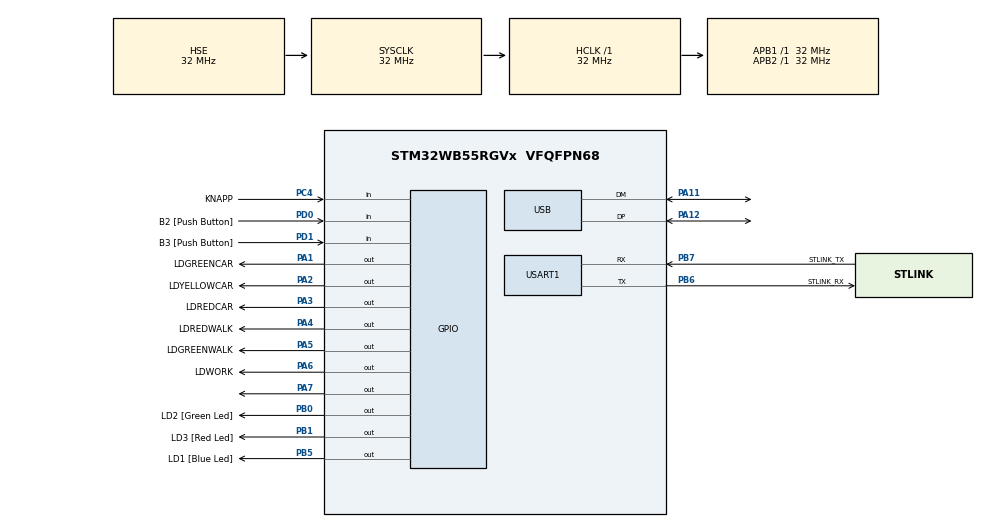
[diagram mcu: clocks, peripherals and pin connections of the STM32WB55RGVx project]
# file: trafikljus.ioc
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Mcu.Family=STM32WB
PA2.GPIO_PuPd=GPIO_PULLUP
RCC.CortexFreq_Value=32000000
RCC.SMPSCLockSelectionVirtualVirtual=RCC_SMPSCLKSOURCE_HSI
USART1.WordLength=WORDLENGTH_7B
PA14.GPIO_Label=JTCK
PA3.GPIO_PuPd=GPIO_PULLUP
PD0.GPIO_Label=B2 [Push Button]
PA11.Mode=Device
PA6.GPIO_Label=LDWORK
PB0.GPIO_Label=LD2 [Green Led]
PB6.GPIO_Label=STLINK_RX
PA5.PinState=GPIO_PIN_SET
RCC.SYSCLKSource=RCC_SYSCLKSOURCE_HSE
ProjectManager.StackSize=0x400
PA12.Signal=USB_DP
RCC.HCLKFreq_Value=32000000
RCC.APB2TimFreq_Value=32000000
PB6.Signal=USART1_TX
PB6.Mode=Asynchronous
PD0.Signal=GPIO_Input
OSC_OUT.Mode=HSE-External-Oscillator
PA1.GPIO_PuPd=GPIO_PULLUP
OSC_OUT.Signal=RCC_OSC_OUT
RCC.AHBFreq_Value=32000000
RCC.HSE_VALUE=32000000
PA4.GPIO_PuPd=GPIO_PULLUP
PB3.Mode=Trace_Asynchronous_SW
PD1.GPIO_Label=B3 [Push Button]
PA2.PinState=GPIO_PIN_SET
PA6.GPIO_PuPd=GPIO_PULLUP
PC14-OSC32_IN.Mode=LSE-External-Oscillator
PC4.GPIO_Label=KNAPP
PA14.Mode=Trace_Asynchronous_SW
PA5.GPIO_PuPd=GPIO_PULLUP
PB1.GPIO_Label=LD3 [Red Led]
PB7.Signal=USART1_RX
RCC.APB3Freq_Value=16000000
PB7.GPIO_Label=STLINK_TX
Mcu.Package=VFQFPN68
PB1.Signal=GPIO_Output
PA6.Signal=GPIO_Output
PA2.GPIO_Label=LDYELLOWCAR
PA1.PinState=GPIO_PIN_SET
PB5.GPIO_Label=LD1 [Blue Led]
RCC.APB1TimFreq_Value=32000000
RCC.SMPSDivider=1
PA4.GPIO_Label=LDREDWALK
RCC.HSI48_VALUE=48000000
RCC.PLLSAI1N=24
PA3.Signal=GPIO_Output
PB3.GPIO_Label=JTDO
PB7.GPIO_PuPd=GPIO_PULLUP
PC15-OSC32_OUT.Mode=LSE-External-Oscillator
PC13.Signal=SYS_WKUP2
PB6.GPIO_PuPd=GPIO_PULLUP
PC4.Signal=GPIO_Input
PD1.Signal=GPIO_Input
PA6.PinState=GPIO_PIN_SET
PC14-OSC32_IN.Signal=RCC_OSC32_IN
USART1.VirtualMode-Asynchronous=VM_ASYNC
PA13.Signal=SYS_JTMS-SWDIO
PA4.PinState=GPIO_PIN_SET
ProjectManager.TargetToolchain=STM32CubeIDE
OSC_IN.Signal=RCC_OSC_IN
RCC.USBFreq_Value=48000000
PC15-OSC32_OUT.Signal=RCC_OSC32_OUT
PA1.Signal=GPIO_Output
PA5.Signal=GPIO_Output
RCC.SMPSCLockSelectionVirtual=RCC_SMPSCLKSOURCE_HSI
board=NUCLEO-WB55RG
RCC.VCOOutputFreq_Value=128000000
RCC.APB2Freq_Value=32000000
RCC.ADCFreq_Value=48000000
PA1.GPIO_Label=LDGREENCAR
PC13.Mode=SYS_WakeUp1
PA13.Mode=Trace_Asynchronous_SW
Mcu.Name=STM32WB55RGVx
PA2.Signal=GPIO_Output
PA13.GPIO_Label=JTMS
PB3.Signal=SYS_JTDO-SWO
PA4.Signal=GPIO_Output
RCC.SYSCLKFreq_VALUE=32000000
PB5.Signal=GPIO_Output
PA12.Mode=Device
PA5.GPIO_Label=LDGREENWALK
OSC_IN.Mode=HSE-External-Oscillator
PB7.Mode=Asynchronous
PA11.Signal=USB_DM
PA14.Signal=SYS_JTCK-SWCLK
ProjectManager.HeapSize=0x200
RCC.HSI_VALUE=16000000
NVIC.PriorityGroup=NVIC_PRIORITYGROUP_4
RCC.PLLN=32
PA3.PinState=GPIO_PIN_SET
RCC.APB1Freq_Value=32000000
PB0.Signal=GPIO_Output
PA3.GPIO_Label=LDREDCAR
PA7.Signal=GPIO_Output

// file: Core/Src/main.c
/* USER CODE BEGIN Header */
/**
  ******************************************************************************
  * @file           : main.c
  * @brief          : Main program body
  ******************************************************************************
  * @attention
  *
  * <h2><center>&copy; Copyright (c) 2021 STMicroelectronics.
  * All rights reserved.</center></h2>
  *
  * This software component is licensed by ST under BSD 3-Clause license,
  * the "License"; You may not use this file except in compliance with the
  * License. You may obtain a copy of the License at:
  *                        opensource.org/licenses/BSD-3-Clause
  *
  ******************************************************************************
  */
/* USER CODE END Header */
#include "main.h"

/* USER CODE BEGIN PTD */
enum {
	DEFAULT,
	WAIT_TO_WALK,
	WAIT_TO_DRIVE
}STATE;

/* USER CODE END PTD */

UART_HandleTypeDef huart1;

PCD_HandleTypeDef hpcd_USB_FS;

void SystemClock_Config(void);
static void MX_GPIO_Init(void);
static void MX_USART1_UART_Init(void);
static void MX_USB_PCD_Init(void);

/* USER CODE BEGIN 0 */
void setDiodes(int num){
	switch(num){
	//SET = HÖG = LED LYSER INTE
	//RESET = LÅG = LED LYSER
//	enum {
//		DEFAULT,0
//		WAIT_TO_WALK,1
//		WAIT_TO_DRIVE,2
//	}STATE;
	case 0: //DEFAULT
		HAL_GPIO_WritePin(LDGREENCAR_GPIO_Port, LDGREENCAR_Pin, GPIO_PIN_RESET);
		HAL_GPIO_WritePin(LDYELLOWCAR_GPIO_Port, LDYELLOWCAR_Pin, GPIO_PIN_SET);
		HAL_GPIO_WritePin(LDREDCAR_GPIO_Port, LDREDCAR_Pin, GPIO_PIN_SET);
		HAL_GPIO_WritePin(LDREDWALK_GPIO_Port, LDREDWALK_Pin, GPIO_PIN_RESET);
		HAL_GPIO_WritePin(LDGREENWALK_GPIO_Port, LDGREENWALK_Pin, GPIO_PIN_SET);
		HAL_GPIO_WritePin(LDWORK_GPIO_Port, LDWORK_Pin, GPIO_PIN_SET);
		break;

	case 1: //WAIT TO WALK
		setDiodes(DEFAULT);
		for(int i = 0; i<50; i++){
			HAL_GPIO_TogglePin(LDWORK_GPIO_Port, LDWORK_Pin);
			HAL_Delay(100);
		}

		HAL_GPIO_WritePin(LDGREENCAR_GPIO_Port, LDGREENCAR_Pin, GPIO_PIN_SET);
		HAL_GPIO_WritePin(LDYELLOWCAR_GPIO_Port, LDYELLOWCAR_Pin, GPIO_PIN_RESET);

		HAL_Delay(1000);
		HAL_GPIO_WritePin(LDYELLOWCAR_GPIO_Port, LDYELLOWCAR_Pin, GPIO_PIN_SET);
		HAL_GPIO_WritePin(LDREDCAR_GPIO_Port, LDREDCAR_Pin, GPIO_PIN_RESET);

		HAL_Delay(1000);
		HAL_GPIO_WritePin(LDREDWALK_GPIO_Port, LDREDWALK_Pin, GPIO_PIN_SET);
		HAL_GPIO_WritePin(LDGREENWALK_GPIO_Port, LDGREENWALK_Pin, GPIO_PIN_RESET);

		STATE = WAIT_TO_DRIVE;
		break;

	case 2: //WAIT TO DRIVE
		for(int i = 0; i<50; i++){
			HAL_GPIO_TogglePin(LDWORK_GPIO_Port, LDWORK_Pin);
			HAL_Delay(100);
		}

		HAL_Delay(1000);
		HAL_GPIO_WritePin(LDREDWALK_GPIO_Port, LDREDWALK_Pin, GPIO_PIN_RESET);
		HAL_GPIO_WritePin(LDGREENWALK_GPIO_Port, LDGREENWALK_Pin, GPIO_PIN_SET);

		HAL_Delay(1000);
		HAL_GPIO_WritePin(LDYELLOWCAR_GPIO_Port, LDYELLOWCAR_Pin, GPIO_PIN_RESET);
		HAL_GPIO_WritePin(LDREDCAR_GPIO_Port, LDREDCAR_Pin, GPIO_PIN_SET);

		HAL_Delay(1000);
		HAL_GPIO_WritePin(LDYELLOWCAR_GPIO_Port, LDYELLOWCAR_Pin, GPIO_PIN_RESET);
		HAL_GPIO_WritePin(LDGREENCAR_GPIO_Port, LDGREENCAR_Pin, GPIO_PIN_SET);

		STATE = DEFAULT;
		break;
	}
}
/* USER CODE END 0 */

int main(void)
{

  /* MCU Configuration--------------------------------------------------------*/

  /* Reset of all peripherals, Initializes the Flash interface and the Systick. */
  HAL_Init();

  /* Configure the system clock */
  SystemClock_Config();

  /* Initialize all configured peripherals */
  MX_GPIO_Init();
  MX_USART1_UART_Init();
  MX_USB_PCD_Init();

  /* Infinite loop */
  /* USER CODE BEGIN WHILE */
  STATE = DEFAULT;
  setDiodes(DEFAULT);
  while (1)
  {
	  if(HAL_GPIO_ReadPin(KNAPP_GPIO_Port, KNAPP_Pin) && STATE == DEFAULT){
		  STATE = WAIT_TO_WALK;
	  }
	  setDiodes(STATE);
    /* USER CODE END WHILE */

  }
}

void SystemClock_Config(void)
{
  RCC_OscInitTypeDef RCC_OscInitStruct = {0};
  RCC_ClkInitTypeDef RCC_ClkInitStruct = {0};
  RCC_PeriphCLKInitTypeDef PeriphClkInitStruct = {0};

  /** Macro to configure the PLL multiplication factor
  */
  __HAL_RCC_PLL_PLLM_CONFIG(RCC_PLLM_DIV1);
  /** Macro to configure the PLL clock source
  */
  __HAL_RCC_PLL_PLLSOURCE_CONFIG(RCC_PLLSOURCE_MSI);
  /** Configure LSE Drive Capability
  */
  HAL_PWR_EnableBkUpAccess();
  __HAL_RCC_LSEDRIVE_CONFIG(RCC_LSEDRIVE_LOW);
  /** Configure the main internal regulator output voltage
  */
  __HAL_PWR_VOLTAGESCALING_CONFIG(PWR_REGULATOR_VOLTAGE_SCALE1);
  /** Initializes the RCC Oscillators according to the specified parameters
  * in the RCC_OscInitTypeDef structure.
  */
  RCC_OscInitStruct.OscillatorType = RCC_OSCILLATORTYPE_HSI|RCC_OSCILLATORTYPE_HSE
                              |RCC_OSCILLATORTYPE_LSE|RCC_OSCILLATORTYPE_MSI;
  RCC_OscInitStruct.HSEState = RCC_HSE_ON;
  RCC_OscInitStruct.LSEState = RCC_LSE_ON;
  RCC_OscInitStruct.HSIState = RCC_HSI_ON;
  RCC_OscInitStruct.MSIState = RCC_MSI_ON;
  RCC_OscInitStruct.HSICalibrationValue = RCC_HSICALIBRATION_DEFAULT;
  RCC_OscInitStruct.MSICalibrationValue = RCC_MSICALIBRATION_DEFAULT;
  RCC_OscInitStruct.MSIClockRange = RCC_MSIRANGE_6;
  RCC_OscInitStruct.PLL.PLLState = RCC_PLL_NONE;
  if (HAL_RCC_OscConfig(&RCC_OscInitStruct) != HAL_OK)
  {
    Error_Handler();
  }
  /** Configure the SYSCLKSource, HCLK, PCLK1 and PCLK2 clocks dividers
  */
  RCC_ClkInitStruct.ClockType = RCC_CLOCKTYPE_HCLK4|RCC_CLOCKTYPE_HCLK2
                              |RCC_CLOCKTYPE_HCLK|RCC_CLOCKTYPE_SYSCLK
                              |RCC_CLOCKTYPE_PCLK1|RCC_CLOCKTYPE_PCLK2;
  RCC_ClkInitStruct.SYSCLKSource = RCC_SYSCLKSOURCE_HSE;
  RCC_ClkInitStruct.AHBCLKDivider = RCC_SYSCLK_DIV1;
  RCC_ClkInitStruct.APB1CLKDivider = RCC_HCLK_DIV1;
  RCC_ClkInitStruct.APB2CLKDivider = RCC_HCLK_DIV1;
  RCC_ClkInitStruct.AHBCLK2Divider = RCC_SYSCLK_DIV1;
  RCC_ClkInitStruct.AHBCLK4Divider = RCC_SYSCLK_DIV1;

  if (HAL_RCC_ClockConfig(&RCC_ClkInitStruct, FLASH_LATENCY_1) != HAL_OK)
  {
    Error_Handler();
  }
  /** Initializes the peripherals clocks
  */
  PeriphClkInitStruct.PeriphClockSelection = RCC_PERIPHCLK_SMPS|RCC_PERIPHCLK_USART1
                              |RCC_PERIPHCLK_USB;
  PeriphClkInitStruct.PLLSAI1.PLLN = 24;
  PeriphClkInitStruct.PLLSAI1.PLLP = RCC_PLLP_DIV2;
  PeriphClkInitStruct.PLLSAI1.PLLQ = RCC_PLLQ_DIV2;
  PeriphClkInitStruct.PLLSAI1.PLLR = RCC_PLLR_DIV2;
  PeriphClkInitStruct.PLLSAI1.PLLSAI1ClockOut = RCC_PLLSAI1_USBCLK;
  PeriphClkInitStruct.Usart1ClockSelection = RCC_USART1CLKSOURCE_PCLK2;
  PeriphClkInitStruct.UsbClockSelection = RCC_USBCLKSOURCE_PLLSAI1;
  PeriphClkInitStruct.SmpsClockSelection = RCC_SMPSCLKSOURCE_HSI;
  PeriphClkInitStruct.SmpsDivSelection = RCC_SMPSCLKDIV_RANGE0;
  if (HAL_RCCEx_PeriphCLKConfig(&PeriphClkInitStruct) != HAL_OK)
  {
    Error_Handler();
  }
  /** Enable MSI Auto calibration
  */
  HAL_RCCEx_EnableMSIPLLMode();
}

static void MX_USART1_UART_Init(void)
{

  huart1.Instance = USART1;
  huart1.Init.BaudRate = 115200;
  huart1.Init.WordLength = UART_WORDLENGTH_7B;
  huart1.Init.StopBits = UART_STOPBITS_1;
  huart1.Init.Parity = UART_PARITY_NONE;
  huart1.Init.Mode = UART_MODE_TX_RX;
  huart1.Init.HwFlowCtl = UART_HWCONTROL_NONE;
  huart1.Init.OverSampling = UART_OVERSAMPLING_16;
  huart1.Init.OneBitSampling = UART_ONE_BIT_SAMPLE_DISABLE;
  huart1.Init.ClockPrescaler = UART_PRESCALER_DIV1;
  huart1.AdvancedInit.AdvFeatureInit = UART_ADVFEATURE_NO_INIT;
  if (HAL_UART_Init(&huart1) != HAL_OK)
  {
    Error_Handler();
  }
  if (HAL_UARTEx_SetTxFifoThreshold(&huart1, UART_TXFIFO_THRESHOLD_1_8) != HAL_OK)
  {
    Error_Handler();
  }
  if (HAL_UARTEx_SetRxFifoThreshold(&huart1, UART_RXFIFO_THRESHOLD_1_8) != HAL_OK)
  {
    Error_Handler();
  }
  if (HAL_UARTEx_DisableFifoMode(&huart1) != HAL_OK)
  {
    Error_Handler();
  }

}

static void MX_USB_PCD_Init(void)
{

  hpcd_USB_FS.Instance = USB;
  hpcd_USB_FS.Init.dev_endpoints = 8;
  hpcd_USB_FS.Init.speed = PCD_SPEED_FULL;
  hpcd_USB_FS.Init.phy_itface = PCD_PHY_EMBEDDED;
  hpcd_USB_FS.Init.Sof_enable = DISABLE;
  hpcd_USB_FS.Init.low_power_enable = DISABLE;
  hpcd_USB_FS.Init.lpm_enable = DISABLE;
  hpcd_USB_FS.Init.battery_charging_enable = DISABLE;
  if (HAL_PCD_Init(&hpcd_USB_FS) != HAL_OK)
  {
    Error_Handler();
  }

}

static void MX_GPIO_Init(void)
{
  GPIO_InitTypeDef GPIO_InitStruct = {0};

  /* GPIO Ports Clock Enable */
  __HAL_RCC_GPIOC_CLK_ENABLE();
  __HAL_RCC_GPIOA_CLK_ENABLE();
  __HAL_RCC_GPIOB_CLK_ENABLE();
  __HAL_RCC_GPIOD_CLK_ENABLE();

  /*Configure GPIO pin Output Level */
  HAL_GPIO_WritePin(GPIOA, LDGREENCAR_Pin|LDYELLOWCAR_Pin|LDREDCAR_Pin|LDREDWALK_Pin
                          |LDGREENWALK_Pin|LDWORK_Pin, GPIO_PIN_SET);

  /*Configure GPIO pin Output Level */
  HAL_GPIO_WritePin(GPIOA, GPIO_PIN_7, GPIO_PIN_RESET);

  /*Configure GPIO pin Output Level */
  HAL_GPIO_WritePin(GPIOB, LD2_Pin|LD3_Pin|LD1_Pin, GPIO_PIN_RESET);

  /*Configure GPIO pins : LDGREENCAR_Pin LDYELLOWCAR_Pin LDREDCAR_Pin LDREDWALK_Pin
                           LDGREENWALK_Pin LDWORK_Pin */
  GPIO_InitStruct.Pin = LDGREENCAR_Pin|LDYELLOWCAR_Pin|LDREDCAR_Pin|LDREDWALK_Pin
                          |LDGREENWALK_Pin|LDWORK_Pin;
  GPIO_InitStruct.Mode = GPIO_MODE_OUTPUT_PP;
  GPIO_InitStruct.Pull = GPIO_PULLUP;
  GPIO_InitStruct.Speed = GPIO_SPEED_FREQ_LOW;
  HAL_GPIO_Init(GPIOA, &GPIO_InitStruct);

  /*Configure GPIO pin : PA7 */
  GPIO_InitStruct.Pin = GPIO_PIN_7;
  GPIO_InitStruct.Mode = GPIO_MODE_OUTPUT_PP;
  GPIO_InitStruct.Pull = GPIO_NOPULL;
  GPIO_InitStruct.Speed = GPIO_SPEED_FREQ_LOW;
  HAL_GPIO_Init(GPIOA, &GPIO_InitStruct);

  /*Configure GPIO pin : KNAPP_Pin */
  GPIO_InitStruct.Pin = KNAPP_Pin;
  GPIO_InitStruct.Mode = GPIO_MODE_INPUT;
  GPIO_InitStruct.Pull = GPIO_NOPULL;
  HAL_GPIO_Init(KNAPP_GPIO_Port, &GPIO_InitStruct);

  /*Configure GPIO pins : LD2_Pin LD3_Pin LD1_Pin */
  GPIO_InitStruct.Pin = LD2_Pin|LD3_Pin|LD1_Pin;
  GPIO_InitStruct.Mode = GPIO_MODE_OUTPUT_PP;
  GPIO_InitStruct.Pull = GPIO_NOPULL;
  GPIO_InitStruct.Speed = GPIO_SPEED_FREQ_LOW;
  HAL_GPIO_Init(GPIOB, &GPIO_InitStruct);

  /*Configure GPIO pins : B2_Pin B3_Pin */
  GPIO_InitStruct.Pin = B2_Pin|B3_Pin;
  GPIO_InitStruct.Mode = GPIO_MODE_INPUT;
  GPIO_InitStruct.Pull = GPIO_NOPULL;
  HAL_GPIO_Init(GPIOD, &GPIO_InitStruct);

}

void Error_Handler(void)
{
  __disable_irq();
  while (1)
  {
  }
}

/************************ (C) COPYRIGHT STMicroelectronics *****END OF FILE****/
